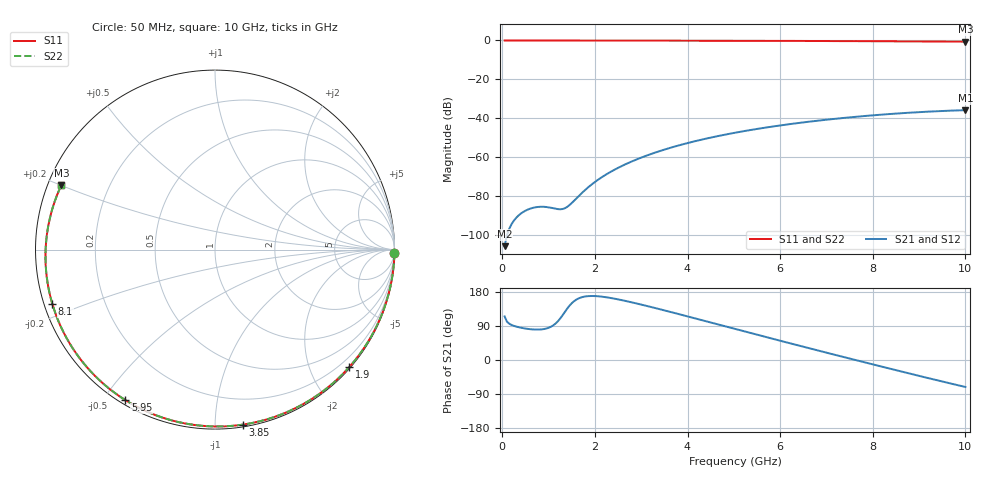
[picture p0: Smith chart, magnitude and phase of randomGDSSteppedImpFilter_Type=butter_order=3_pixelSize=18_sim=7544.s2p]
! freq	dB(S11)	phase(S11)	dB(S12)	phase(S12)
!  dB(S21)	phase(S21)	dB(S22)	phase(S22)
!S-par simulation data
#  GHz  S  DB  R 50
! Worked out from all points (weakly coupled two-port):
!   200 points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, 50 MHz to 10 GHz, reference 50 ohm
!   highest |S21| = -35.76 dB at 10 GHz (marker M1); lowest = -105.5 dB at 50 MHz (marker M2)
!   lowest |S11| = -0.6 dB at 10 GHz (marker M3), VSWR 26.93, Z = 1.93 + j10.1 ohm
!   |S11| at or under -10 dB: nowhere
!   |S22| runs from -0.6 to 0.0 dB; largest |S21 - S12| = 0
!   S11 on the Smith chart (normalised r, x): 50 MHz: open; 1.9 GHz: 0.02, -2.66; 3.85 GHz: 0.02, -1.17; 5.95 GHz: 0.02, -0.57; 8.1 GHz: 0.02, -0.16; 10 GHz: 0.04, +0.20
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0.05  -0.00 -1.1  -105.54 115.0  -105.54 115.0  -0.00 -1.1
0.8  -0.02 -17.6  -85.36 80.4  -85.36 80.4  -0.02 -17.6
1.6  -0.04 -34.9  -81.03 159.5  -81.03 159.5  -0.04 -34.9
1.65  -0.05 -35.9  -79.83 162.7  -79.83 162.7  -0.05 -35.9
1.75  -0.05 -38.0  -77.54 166.7  -77.54 166.7  -0.05 -38.0
1.9  -0.05 -41.2  -74.45 168.9  -74.45 168.9  -0.05 -41.2
2.2  -0.06 -47.5  -69.38 166.4  -69.38 166.4  -0.06 -47.5
2.55  -0.07 -54.8  -64.76 158.8  -64.76 158.8  -0.07 -54.8
2.95  -0.08 -63.0  -60.57 147.7  -60.57 147.7  -0.08 -63.0
3.4  -0.10 -72.0  -56.75 134.1  -56.75 134.1  -0.10 -72.0
3.85  -0.11 -80.9  -53.58 119.9  -53.58 119.9  -0.11 -80.9
4.45  -0.13 -92.5  -50.10 100.7  -50.10 100.7  -0.13 -92.5
5.05  -0.16 -103.9  -47.23 81.3  -47.23 81.3  -0.16 -103.9
5.95  -0.21 -120.8  -43.77 52.4  -43.77 52.4  -0.21 -120.8
6.7  -0.26 -134.7  -41.46 28.7  -41.46 28.7  -0.26 -134.7
7.4  -0.32 -148.0  -39.68 6.9  -39.68 6.9  -0.32 -148.0
8.1  -0.40 -161.6  -38.22 -14.6  -38.22 -14.6  -0.40 -161.6
8.35  -0.42 -166.6  -37.77 -22.3  -37.77 -22.3  -0.42 -166.6
8.8  -0.48 -175.8  -37.05 -35.9  -37.05 -35.9  -0.48 -175.9
9.2  -0.53 175.6  -36.52 -47.9  -36.52 -47.9  -0.53 175.6
9.6  -0.59 166.6  -36.09 -59.7  -36.09 -59.7  -0.59 166.6
10  -0.65 157.2  -35.76 -71.2  -35.76 -71.2  -0.65 157.2
